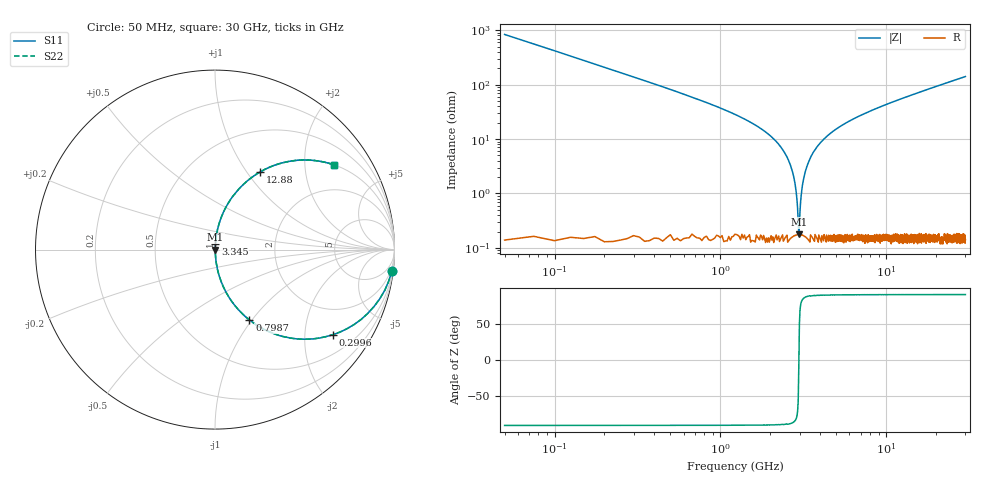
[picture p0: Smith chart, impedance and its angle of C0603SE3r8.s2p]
!	AVX Thin Film Operation 	Date: April 2014
!	Description: Accu-P® Series, Thin Film  SMD RF Capacitor
!	Part Number: 06031J3R8ABSTR
# MHZ S MA R 50
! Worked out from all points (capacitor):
!   1201 points, 50 MHz to 30 GHz, reference 50 ohm
!   read as one part in series: C = 3.8 pF near 199.8 MHz
!   lowest |Z| = 178 mohm at 2.97 GHz (marker M1)
!   series resonance near 2.973 GHz, so ESL is about 750 pH
!   S11 on the Smith chart (normalised r, x): 50 MHz: 1, -17; 299.6 MHz: 1.00, -2.77; 798.8 MHz: 1.00, -0.97; 3.345 GHz: 1.00, +0.07; 12.88 GHz: 1.00, +1.16; 30 GHz: 1.00, +2.82
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50  0.993 -6.8  0.119 83.2  0.119 83.2  0.993 -6.8
299.583  0.81 -35.8  0.585 54.1  0.585 54.1  0.81 -35.8
549.167  0.593 -53.5  0.804 36.3  0.804 36.3  0.593 -53.5
798.75  0.437 -63.9  0.898 25.9  0.898 25.9  0.437 -63.9
1347.833  0.239 -75.8  0.969 13.8  0.969 13.8  0.239 -75.8
2371.125  0.064 -85.0  0.996 3.7  0.996 3.7  0.064 -85.0
2670.625  0.03 -85.4  0.998 1.7  0.998 1.7  0.03 -85.4
2870.292  0.01 -80.8  0.998 0.6  0.998 0.6  0.01 -80.8
2970.125  0.001533 -10.3  0.998 0.0  0.998 0.0  0.001533 -10.3
3069.958  0.009151 80.0  0.998 -0.5  0.998 -0.5  0.009151 80.0
3194.75  0.02 84.6  0.998 -1.2  0.998 -1.2  0.02 84.6
3344.5  0.033 85.5  0.998 -1.9  0.998 -1.9  0.033 85.5
3594.083  0.054 85.3  0.997 -3.1  0.997 -3.1  0.054 85.3
3943.5  0.08 84.3  0.995 -4.6  0.995 -4.6  0.08 84.3
5041.667  0.154 80.6  0.987 -8.8  0.987 -8.8  0.154 80.6
7063.292  0.265 74.3  0.963 -15.4  0.963 -15.4  0.265 74.3
10058.29  0.398 66.3  0.916 -23.5  0.916 -23.5  0.398 66.3
12878.58  0.5 59.9  0.865 -30.0  0.865 -30.0  0.5 59.9
15025  0.564 55.5  0.825 -34.3  0.825 -34.3  0.564 55.5
20016.67  0.679 47.1  0.733 -42.8  0.733 -42.8  0.679 47.1
25033.29  0.76 40.5  0.649 -49.4  0.649 -49.4  0.76 40.5
30000  0.815 35.4  0.579 -54.6  0.579 -54.6  0.815 35.4
